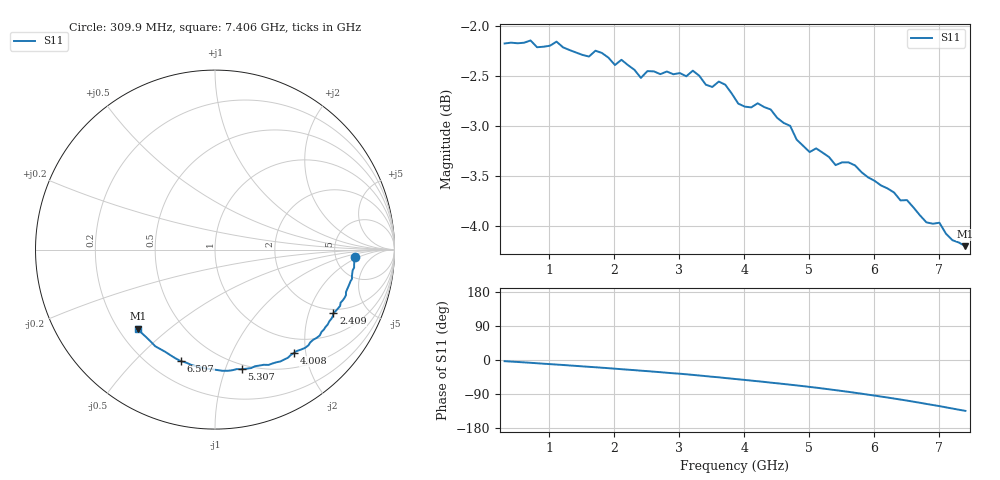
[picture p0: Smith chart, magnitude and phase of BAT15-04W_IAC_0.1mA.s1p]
! Infineon Technologies  Discrete & RF Semiconductors
! BAT15-04W-E6327
! IAC = 0.1 mA
! One-Port S-Parameters
# Hz  S  MA  R  50
!f  S11
!Hz  Mag  Ang
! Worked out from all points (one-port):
!   72 points, 309.9 MHz to 7.406 GHz, reference 50 ohm
!   lowest |S11| = -4.2 dB at 7.406 GHz (marker M1), VSWR 4.21, Z = 13.8 - j19.7 ohm
!   |S11| at or under -10 dB: nowhere
!   S11 on the Smith chart (normalised r, x): 309.9 MHz: 7.68, -1.66; 2.409 GHz: 1.82, -2.94; 4.008 GHz: 0.74, -1.78; 5.307 GHz: 0.46, -1.14; 6.507 GHz: 0.32, -0.69; 7.406 GHz: 0.28, -0.39
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3.0985e8  0.7789 -3.1
7.0965e8  0.7816 -7.4
8.096e8  0.7755 -8.5
1.10945e9  0.7806 -12.0
1.2094e9  0.7754 -13.1
1.6092e9  0.7672 -18.0
1.70915e9  0.7724 -19.1
2.009e9  0.7597 -22.9
2.10895e9  0.7643 -24.2
2.4088e9  0.7485 -28.2
2.50875e9  0.7544 -29.4
3.0085e9  0.7527 -36.2
3.2084e9  0.7548 -39.3
3.50825e9  0.7407 -44.3
3.6082e9  0.7453 -45.7
3.70815e9  0.7427 -47.5
3.90805e9  0.7266 -50.9
4.008e9  0.7241 -52.6
4.4078e9  0.7217 -59.7
4.70765e9  0.7082 -65.1
4.8076e9  0.697 -67.0
5.30735e9  0.683 -77.4
5.70715e9  0.6765 -86.5
6.2069e9  0.6588 -99.0
6.50675e9  0.6499 -107.1
6.6067e9  0.6444 -110.0
7.0065e9  0.6331 -121.7
7.4063e9  0.6162 -134.3
